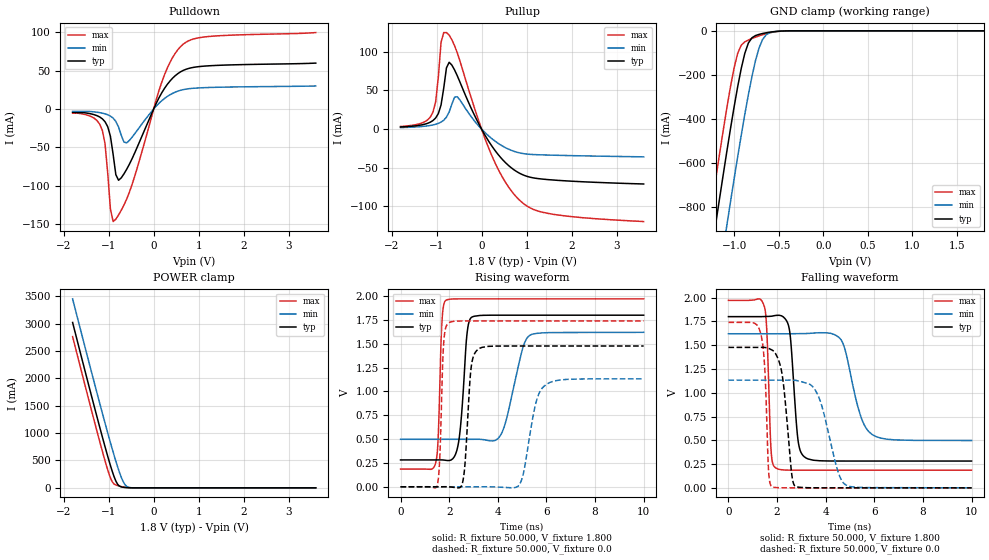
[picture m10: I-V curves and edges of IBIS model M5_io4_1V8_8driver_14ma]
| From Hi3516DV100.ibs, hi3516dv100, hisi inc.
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|   Model M5_io4_1V8_8driver_14ma
[Model] M5_io4_1V8_8driver_14ma
Model_type I/O
Enable   Active-Low
|   typ   min   max
C_comp   3.590pF   3.208pF   3.813pF
C_comp_pullup   1.878pF   1.706pF   1.945pF
C_comp_pulldown   1.500pF   1.377pF   1.578pF
[Temperature Range]   25.000   0.125k   -40.000
[Voltage Range]   1.800V   1.620V   1.970V
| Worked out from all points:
|   slope of the pulldown table from 0 to 0.27 V, typ, clamps not added: 9.21 ohm
|   slope of the pullup table from 0 to 0.27 V, typ, clamps not added: 10.7 ohm
|   GND clamp passes 1 mA (typ) near -0.46 V on its own axis
|   POWER clamp passes 1 mA (typ) near -0.52 V on its own axis
|   rising waveform, R_fixture 50.000, V_fixture 1.800: 20-80 % time 248ps typ, 596ps min, 127ps max; typ from 0.282 V to 1.8 V
|   rising waveform, R_fixture 50.000, V_fixture 0.0: 20-80 % time 209ps typ, 477ps min, 128ps max; typ from 0 V to 1.48 V
|   falling waveform, R_fixture 50.000, V_fixture 1.800: 20-80 % time 248ps typ, 631ps min, 140ps max; typ from 1.8 V to 0.282 V
|   falling waveform, R_fixture 50.000, V_fixture 0.0: 20-80 % time 331ps typ, 658ps min, 165ps max; typ from 1.48 V to 0 V
[Pulldown]
|Voltage   I(typ)   I(min)   I(max)
-1.8V     -4.492mA   -3.132mA   -5.401mA
-1.32V    -7.404mA   -3.755mA   -12.04mA
-1.14V    -12.76mA   -5.393mA   -27.78mA
-1.08V    -16.57mA   -6.284mA   -45.14mA
-960mV    -35.52mA   -9.243mA   -130.5mA
-900mV    -59.21mA   -11.88mA   -146.6mA
-840mV    -85.47mA   -16.16mA   -143.5mA
-720mV    -89.69mA   -34.22mA   -131.9mA
-600mV    -78.59mA   -44.06mA   -117.4mA
180mV     21.13mA    10.83mA    34.99mA
600mV     48.52mA    24.43mA    81.46mA
3.6V      59.8mA     30.01mA    99.56mA
[Pullup]
|Voltage   I(typ)   I(min)   I(max)
-1.8V     2.76mA     1.975mA    3.421mA
-1.32V    5.595mA    3.437mA    8.011mA
-1.08V    11.06mA    5.38mA     21.86mA
-1.02V    14.38mA    6.241mA    35.25mA
-900mV    31.17mA    9.058mA    112.1mA
-780mV    79.22mA    15.48mA    124.8mA
-720mV    86.4mA     22.11mA    121.5mA
-540mV    69.03mA    41.88mA    98.63mA
180mV     -17.67mA   -9.968mA   -27.76mA
840mV     -56.92mA   -30.68mA   -91.66mA
1.5V      -65.38mA   -33.57mA   -109.2mA
3.6V      -70.94mA   -35.84mA   -119.5mA
[GND_clamp]
|Voltage   I(typ)   I(min)   I(max)
-1.8V     -2.536A    -2.859A    -2.342A
-1.28V    -1.078A    -1.418A    -874.3mA
-1.2V     -860.6mA   -1.2A      -657.1mA
-1.08V    -544.2mA   -880.2mA   -347mA
-1V       -345.8mA   -673mA     -168.1mA
-960mV    -254mA     -572.3mA   -102.3mA
-880mV    -102.3mA   -379.7mA   -50.17mA
-800mV    -31.66mA   -207.5mA   -35.12mA
-720mV    -16.02mA   -77.6mA    -22.87mA
-680mV    -12.07mA   -38.75mA   -17.53mA
-600mV    -6.176mA   -8.568mA   -8.833mA
1.8V      0A         0A         0A
[POWER_clamp]
|Voltage   I(typ)   I(min)   I(max)
-1.8V     3.023A     3.455A     2.765A
-1.2V     1.116A     1.553A     853.2mA
-1.04V    634.5mA    1.064A     382.2mA
-960mV    408.5mA    827mA      182.2mA
-920mV    303.2mA    711.2mA    110.1mA
-880mV    206.7mA    598mA      70.15mA
-800mV    65.13mA    382.9mA    41mA
-760mV    31.99mA    284mA      30.98mA
-680mV    10.64mA    118.3mA    16.27mA
-600mV    3.914mA    26.47mA    6.952mA
-400mV    59.27uA    154.9uA    71.6uA
3.6V      -21.96uA   -120nA     -42.48uA
[Ramp]
| variable   typ   min   max
dV/dt_r   0.886/0.216n   0.679/0.482n   1.043/0.132n
dV/dt_f   0.911/0.251n   0.673/0.632n   1.071/0.146n
R_load = 50.000
[Rising Waveform]
R_fixture= 50.000
V_fixture= 1.800
V_fixture_min= 1.620
V_fixture_max= 1.980
|time   V(typ)   V(min)   V(max)
0s        281.8mV    497.9mV    185.6mV
1.439ns   281.8mV    497.9mV    245.2mV
1.545ns   281.9mV    497.9mV    497.3mV
1.705ns   282mV      497.9mV    1.739V
1.872ns   277.4mV    497.9mV    1.957V
2.388ns   467.8mV    497.8mV    1.971V
2.909ns   1.775V     498mV      1.971V
4.121ns   1.8V       544.3mV    1.971V
5.32ns    1.8V       1.59V      1.971V
10ns      1.8V       1.62V      1.971V
[Rising Waveform]
R_fixture= 50.000
V_fixture= 0.0
V_fixture_min= 0.0
V_fixture_max= 0.0
|time   V(typ)   V(min)   V(max)
0s        135.1uV    0V         166.3uV
1.505ns   106uV      0V         9.78mV
1.775ns   682.2uV    0V         1.507V
1.971ns   -159.1uV   0V         1.717V
2.569ns   64.3mV     2.473uV    1.739V
2.898ns   1.237V     -21.83uV   1.739V
3.179ns   1.44V      3.452uV    1.739V
4.89ns    1.477V     22.49mV    1.739V
6ns       1.477V     1.075V     1.739V
10ns      1.477V     1.132V     1.739V
[Falling Waveform]
R_fixture= 50.000
V_fixture= 1.800
V_fixture_min= 1.620
V_fixture_max= 1.980
|time   V(typ)   V(min)   V(max)
0s        1.8V       1.62V      1.971V
1.482ns   1.801V     1.62V      1.903V
1.752ns   1.804V     1.62V      400.9mV
1.913ns   1.811V     1.62V      215.5mV
2.504ns   1.668V     1.62V      186.2mV
2.849ns   527.2mV    1.621V     185.7mV
3.116ns   327.1mV    1.622V     185.7mV
4.631ns   281.9mV    1.557V     185.6mV
5.912ns   281.8mV    560.3mV    185.6mV
10ns      281.8mV    497.9mV    185.6mV
[Falling Waveform]
R_fixture= 50.000
V_fixture= 0.0
V_fixture_min= 0.0
V_fixture_max= 0.0
|time   V(typ)   V(min)   V(max)
0s        1.477V     1.132V     1.739V
1.326ns   1.477V     1.132V     1.622V
1.494ns   1.476V     1.132V     1.254V
1.661ns   1.465V     1.132V     142.7mV
1.777ns   1.451V     1.132V     12.51mV
2.195ns   1.211V     1.132V     795.5uV
2.762ns   14.24mV    1.13V      178uV
3.651ns   376uV      990.1mV    166.5uV
4.822ns   136.6uV    30.86mV    166.4uV
10ns      135.1uV    0V         166.3uV
